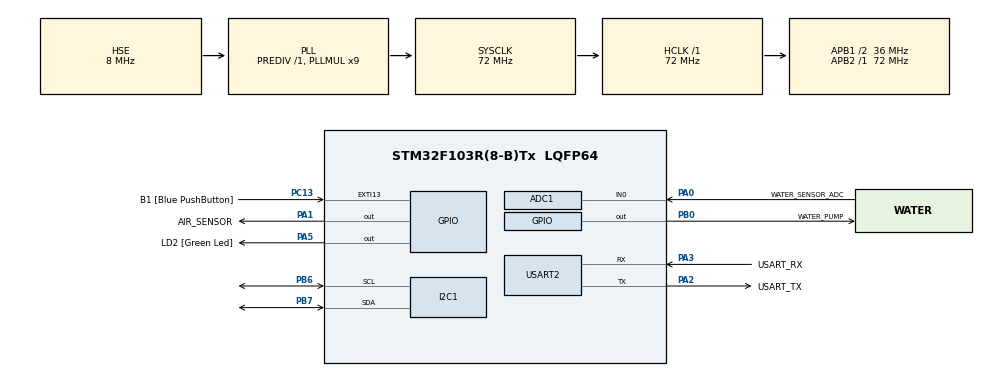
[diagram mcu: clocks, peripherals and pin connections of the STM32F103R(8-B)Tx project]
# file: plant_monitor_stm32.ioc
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ADC1.Channel-0\#ChannelRegularConversion=ADC_CHANNEL_0
ADC1.NbrOfConversionFlag=1
ADC1.Rank-0\#ChannelRegularConversion=1
ADC1.SamplingTime-0\#ChannelRegularConversion=ADC_SAMPLETIME_1CYCLE_5
ADC1.master=1
Mcu.Family=STM32F1
Mcu.Name=STM32F103R(8-B)Tx
Mcu.Package=LQFP64
NVIC.EXTI15_10_IRQn=true\:0\:0\:false\:false\:true\:true\:true\:true
NVIC.PriorityGroup=NVIC_PRIORITYGROUP_4
NVIC.USART2_IRQn=true\:0\:0\:false\:false\:true\:true\:true\:true
PA0-WKUP.GPIO_Label=WATER_SENSOR_ADC
PA0-WKUP.Signal=ADCx_IN0
PA1.GPIO_Label=AIR_SENSOR
PA1.GPIO_PuPd=GPIO_PULLUP
PA1.GPIO_Speed=GPIO_SPEED_FREQ_HIGH
PA1.Signal=GPIO_Output
PA13.GPIO_Label=TMS
PA13.Mode=Serial_Wire
PA13.Signal=SYS_JTMS-SWDIO
PA14.GPIO_Label=TCK
PA14.Mode=Serial_Wire
PA14.Signal=SYS_JTCK-SWCLK
PA2.GPIO_Label=USART_TX
PA2.GPIO_Mode=GPIO_MODE_AF_PP
PA2.GPIO_PuPd=GPIO_NOPULL
PA2.GPIO_Speed=GPIO_SPEED_FREQ_LOW
PA2.Mode=Asynchronous
PA2.Signal=USART2_TX
PA3.GPIO_Label=USART_RX
PA3.GPIO_Mode=GPIO_MODE_AF_PP
PA3.GPIO_PuPd=GPIO_NOPULL
PA3.GPIO_Speed=GPIO_SPEED_FREQ_LOW
PA3.Mode=Asynchronous
PA3.Signal=USART2_RX
PA5.GPIO_Label=LD2 [Green Led]
PA5.GPIO_ModeDefaultOutputPP=GPIO_MODE_OUTPUT_PP
PA5.GPIO_PuPd=GPIO_NOPULL
PA5.GPIO_Speed=GPIO_SPEED_FREQ_LOW
PA5.Signal=GPIO_Output
PB0.GPIO_Label=WATER_PUMP
PB0.PinState=GPIO_PIN_RESET
PB0.Signal=GPIO_Output
PB3.GPIO_Label=SWO
PB3.Signal=SYS_JTDO-TRACESWO
PB6.Mode=I2C
PB6.Signal=I2C1_SCL
PB7.Mode=I2C
PB7.Signal=I2C1_SDA
PC13-TAMPER-RTC.GPIO_Label=B1 [Blue PushButton]
PC13-TAMPER-RTC.GPIO_PuPd=GPIO_NOPULL
PC13-TAMPER-RTC.Signal=GPXTI13
PC14-OSC32_IN.Mode=LSE-External-Oscillator
PC14-OSC32_IN.Signal=RCC_OSC32_IN
PC15-OSC32_OUT.Mode=LSE-External-Oscillator
PC15-OSC32_OUT.Signal=RCC_OSC32_OUT
PD0-OSC_IN.Mode=HSE-External-Clock-Source
PD0-OSC_IN.Signal=RCC_OSC_IN
PD1-OSC_OUT.Mode=HSE-External-Clock-Source
PD1-OSC_OUT.Signal=RCC_OSC_OUT
ProjectManager.HeapSize=0x200
ProjectManager.StackSize=0x400
ProjectManager.TargetToolchain=CMake
RCC.ADCPresc=RCC_ADCPCLK2_DIV6
RCC.AHBFreq_Value=72000000
RCC.APB1CLKDivider=RCC_HCLK_DIV2
RCC.APB1Freq_Value=36000000
RCC.APB1TimFreq_Value=72000000
RCC.APB2Freq_Value=72000000
RCC.APB2TimFreq_Value=72000000
RCC.HCLKFreq_Value=72000000
RCC.PLLMUL=RCC_PLL_MUL9
RCC.PLLSourceVirtual=RCC_PLLSOURCE_HSE
RCC.RTCClockSelection=RCC_RTCCLKSOURCE_LSE
RCC.SYSCLKFreq_VALUE=72000000
RCC.SYSCLKSource=RCC_SYSCLKSOURCE_PLLCLK
RCC.USBFreq_Value=72000000
SH.ADCx_IN0.0=ADC1_IN0,IN0
USART2.VirtualMode=VM_ASYNC
board=NUCLEO-F103RB

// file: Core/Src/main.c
/* USER CODE BEGIN Header */
/**
 ******************************************************************************
 * @file           : main.c
 * @brief          : Main program body
 ******************************************************************************
 * @attention
 *
 * Copyright (c) 2026 STMicroelectronics.
 * All rights reserved.
 *
 * This software is licensed under terms that can be found in the LICENSE file
 * in the root directory of this software component.
 * If no LICENSE file comes with this software, it is provided AS-IS.
 *
 ******************************************************************************
 */
/* USER CODE END Header */
#include "main.h"

/* USER CODE BEGIN Includes */
#include "plant_monitor.h"
#include <stdio.h>

/* USER CODE END Includes */

ADC_HandleTypeDef hadc1;

I2C_HandleTypeDef hi2c1;

UART_HandleTypeDef huart2;

void SystemClock_Config(void);
static void MX_GPIO_Init(void);
static void MX_ADC1_Init(void);
static void MX_USART2_UART_Init(void);
static void MX_I2C1_Init(void);

/* USER CODE BEGIN 0 */
#ifdef __GNUC__
#define PUTCHAR_PROTOTYPE int __io_putchar(int ch)
#else
#define PUTCHAR_PROTOTYPE int fputc(int ch, FILE *f)
#endif

PUTCHAR_PROTOTYPE {
  HAL_UART_Transmit(&huart2, (uint8_t *)&ch, 1, HAL_MAX_DELAY);
    return ch;
}

/* USER CODE END 0 */

int main(void)
{

  /* MCU Configuration--------------------------------------------------------*/

  /* Reset of all peripherals, Initializes the Flash interface and the Systick. */
  HAL_Init();

  /* Configure the system clock */
  SystemClock_Config();

  /* Initialize all configured peripherals */
  MX_GPIO_Init();
  MX_ADC1_Init();
  MX_USART2_UART_Init();
  MX_I2C1_Init();
  /* USER CODE BEGIN 2 */
    // DWT 사이클 카운터 활성화 (rht01 us 딜레이용)
    CoreDebug->DEMCR |= CoreDebug_DEMCR_TRCENA_Msk;
    DWT->CYCCNT = 0;
    DWT->CTRL |= DWT_CTRL_CYCCNTENA_Msk;

    PlantMonitor_Init(
        AIR_SENSOR_GPIO_Port,
        AIR_SENSOR_Pin,
        &hi2c1,
        &hadc1,
        WATER_PUMP_GPIO_Port,
        WATER_PUMP_Pin,
        &huart2);
  /* USER CODE END 2 */

  /* Infinite loop */
  /* USER CODE BEGIN WHILE */
    while (1) {
        PlantMonitor_Run();

    /* USER CODE END WHILE */

    }
}

void SystemClock_Config(void)
{
  RCC_OscInitTypeDef RCC_OscInitStruct = {0};
  RCC_ClkInitTypeDef RCC_ClkInitStruct = {0};
  RCC_PeriphCLKInitTypeDef PeriphClkInit = {0};

  /** Initializes the RCC Oscillators according to the specified parameters
  * in the RCC_OscInitTypeDef structure.
  */
  RCC_OscInitStruct.OscillatorType = RCC_OSCILLATORTYPE_HSE;
  RCC_OscInitStruct.HSEState = RCC_HSE_BYPASS;
  RCC_OscInitStruct.HSEPredivValue = RCC_HSE_PREDIV_DIV1;
  RCC_OscInitStruct.HSIState = RCC_HSI_ON;
  RCC_OscInitStruct.PLL.PLLState = RCC_PLL_ON;
  RCC_OscInitStruct.PLL.PLLSource = RCC_PLLSOURCE_HSE;
  RCC_OscInitStruct.PLL.PLLMUL = RCC_PLL_MUL9;
  if (HAL_RCC_OscConfig(&RCC_OscInitStruct) != HAL_OK)
  {
    Error_Handler();
  }

  /** Initializes the CPU, AHB and APB buses clocks
  */
  RCC_ClkInitStruct.ClockType = RCC_CLOCKTYPE_HCLK|RCC_CLOCKTYPE_SYSCLK
                              |RCC_CLOCKTYPE_PCLK1|RCC_CLOCKTYPE_PCLK2;
  RCC_ClkInitStruct.SYSCLKSource = RCC_SYSCLKSOURCE_PLLCLK;
  RCC_ClkInitStruct.AHBCLKDivider = RCC_SYSCLK_DIV1;
  RCC_ClkInitStruct.APB1CLKDivider = RCC_HCLK_DIV2;
  RCC_ClkInitStruct.APB2CLKDivider = RCC_HCLK_DIV1;

  if (HAL_RCC_ClockConfig(&RCC_ClkInitStruct, FLASH_LATENCY_2) != HAL_OK)
  {
    Error_Handler();
  }
  PeriphClkInit.PeriphClockSelection = RCC_PERIPHCLK_ADC;
  PeriphClkInit.AdcClockSelection = RCC_ADCPCLK2_DIV6;
  if (HAL_RCCEx_PeriphCLKConfig(&PeriphClkInit) != HAL_OK)
  {
    Error_Handler();
  }
}

static void MX_ADC1_Init(void)
{

  ADC_ChannelConfTypeDef sConfig = {0};

  /** Common config
  */
  hadc1.Instance = ADC1;
  hadc1.Init.ScanConvMode = ADC_SCAN_DISABLE;
  hadc1.Init.ContinuousConvMode = DISABLE;
  hadc1.Init.DiscontinuousConvMode = DISABLE;
  hadc1.Init.ExternalTrigConv = ADC_SOFTWARE_START;
  hadc1.Init.DataAlign = ADC_DATAALIGN_RIGHT;
  hadc1.Init.NbrOfConversion = 1;
  if (HAL_ADC_Init(&hadc1) != HAL_OK)
  {
    Error_Handler();
  }

  /** Configure Regular Channel
  */
  sConfig.Channel = ADC_CHANNEL_0;
  sConfig.Rank = ADC_REGULAR_RANK_1;
  sConfig.SamplingTime = ADC_SAMPLETIME_1CYCLE_5;
  if (HAL_ADC_ConfigChannel(&hadc1, &sConfig) != HAL_OK)
  {
    Error_Handler();
  }

}

static void MX_I2C1_Init(void)
{

  hi2c1.Instance = I2C1;
  hi2c1.Init.ClockSpeed = 100000;
  hi2c1.Init.DutyCycle = I2C_DUTYCYCLE_2;
  hi2c1.Init.OwnAddress1 = 0;
  hi2c1.Init.AddressingMode = I2C_ADDRESSINGMODE_7BIT;
  hi2c1.Init.DualAddressMode = I2C_DUALADDRESS_DISABLE;
  hi2c1.Init.OwnAddress2 = 0;
  hi2c1.Init.GeneralCallMode = I2C_GENERALCALL_DISABLE;
  hi2c1.Init.NoStretchMode = I2C_NOSTRETCH_DISABLE;
  if (HAL_I2C_Init(&hi2c1) != HAL_OK)
  {
    Error_Handler();
  }

}

static void MX_USART2_UART_Init(void)
{

  huart2.Instance = USART2;
  huart2.Init.BaudRate = 115200;
  huart2.Init.WordLength = UART_WORDLENGTH_8B;
  huart2.Init.StopBits = UART_STOPBITS_1;
  huart2.Init.Parity = UART_PARITY_NONE;
  huart2.Init.Mode = UART_MODE_TX_RX;
  huart2.Init.HwFlowCtl = UART_HWCONTROL_NONE;
  huart2.Init.OverSampling = UART_OVERSAMPLING_16;
  if (HAL_UART_Init(&huart2) != HAL_OK)
  {
    Error_Handler();
  }

}

static void MX_GPIO_Init(void)
{
  GPIO_InitTypeDef GPIO_InitStruct = {0};

  /* GPIO Ports Clock Enable */
  __HAL_RCC_GPIOC_CLK_ENABLE();
  __HAL_RCC_GPIOD_CLK_ENABLE();
  __HAL_RCC_GPIOA_CLK_ENABLE();
  __HAL_RCC_GPIOB_CLK_ENABLE();

  /*Configure GPIO pin Output Level */
  HAL_GPIO_WritePin(GPIOA, AIR_SENSOR_Pin|LD2_Pin, GPIO_PIN_RESET);

  /*Configure GPIO pin Output Level */
  HAL_GPIO_WritePin(WATER_PUMP_GPIO_Port, WATER_PUMP_Pin, GPIO_PIN_RESET);

  /*Configure GPIO pin : B1_Pin */
  GPIO_InitStruct.Pin = B1_Pin;
  GPIO_InitStruct.Mode = GPIO_MODE_IT_RISING;
  GPIO_InitStruct.Pull = GPIO_NOPULL;
  HAL_GPIO_Init(B1_GPIO_Port, &GPIO_InitStruct);

  /*Configure GPIO pin : AIR_SENSOR_Pin */
  GPIO_InitStruct.Pin = AIR_SENSOR_Pin;
  GPIO_InitStruct.Mode = GPIO_MODE_OUTPUT_PP;
  GPIO_InitStruct.Pull = GPIO_PULLUP;
  GPIO_InitStruct.Speed = GPIO_SPEED_FREQ_HIGH;
  HAL_GPIO_Init(AIR_SENSOR_GPIO_Port, &GPIO_InitStruct);

  /*Configure GPIO pin : LD2_Pin */
  GPIO_InitStruct.Pin = LD2_Pin;
  GPIO_InitStruct.Mode = GPIO_MODE_OUTPUT_PP;
  GPIO_InitStruct.Pull = GPIO_NOPULL;
  GPIO_InitStruct.Speed = GPIO_SPEED_FREQ_LOW;
  HAL_GPIO_Init(LD2_GPIO_Port, &GPIO_InitStruct);

  /*Configure GPIO pin : WATER_PUMP_Pin */
  GPIO_InitStruct.Pin = WATER_PUMP_Pin;
  GPIO_InitStruct.Mode = GPIO_MODE_OUTPUT_PP;
  GPIO_InitStruct.Pull = GPIO_NOPULL;
  GPIO_InitStruct.Speed = GPIO_SPEED_FREQ_LOW;
  HAL_GPIO_Init(WATER_PUMP_GPIO_Port, &GPIO_InitStruct);

  /* EXTI interrupt init*/
  HAL_NVIC_SetPriority(EXTI15_10_IRQn, 0, 0);
  HAL_NVIC_EnableIRQ(EXTI15_10_IRQn);

}

void Error_Handler(void)
{
    __disable_irq();
    while (1) {
    }
}
#ifdef USE_FULL_ASSERT
/**
  * @brief  Reports the name of the source file and the source line number
  *         where the assert_param error has occurred.
  * @param  file: pointer to the source file name
  * @param  line: assert_param error line source number
  * @retval None
  */
void assert_failed(uint8_t *file, uint32_t line)
{
  /* USER CODE BEGIN 6 */
    /* User can add his own implementation to report the file name and line
       number, ex: printf("Wrong parameters value: file %s on line %d\r\n", file,
       line) */
  /* USER CODE END 6 */
}
#endif /* USE_FULL_ASSERT */
